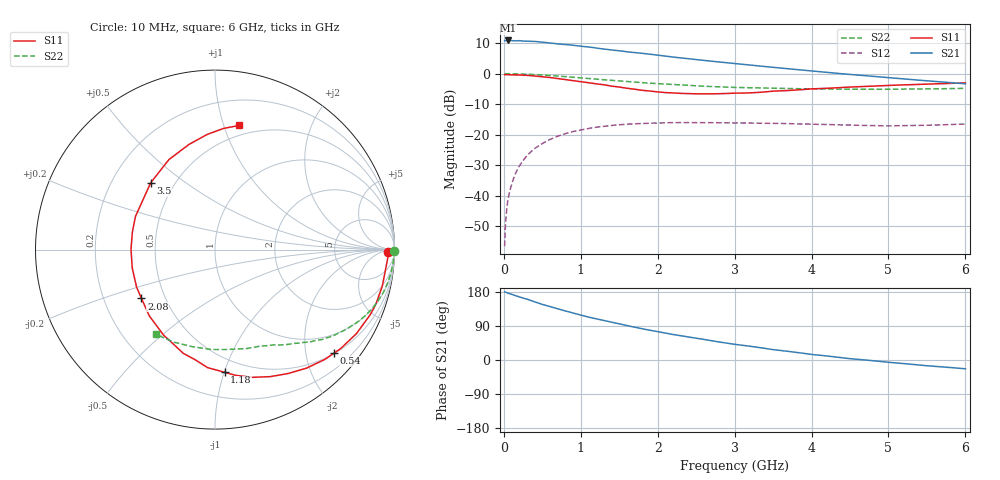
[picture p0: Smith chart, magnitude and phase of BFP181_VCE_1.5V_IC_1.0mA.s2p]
! Infineon Technologies  Discrete & RF Semiconductors
! BFP181
! VCE = 1.5 V,  IC =  1.0 mA
! Common Emitter S-Parameters:  Jan 2016
# GHz  S  MA  R  50
!  f  S11  S21  S12  S22
! GHz  MAG  ANG  MAG  ANG  MAG  ANG  MAG  ANG
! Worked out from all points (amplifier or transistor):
!   210 points, 10 MHz to 6 GHz, reference 50 ohm
!   highest |S21| = 10.9 dB at 50 MHz (marker M1)
!   |S21| within 3 dB of that: start of sweep to 1.358 GHz
!   unconditionally stable (mu >= 1): 2.974 GHz to end of sweep
!   at 185 MHz: K = 0.07, MSG = 20.9 dB, |S12| = -31.0 dB
!   at 1.52 GHz: K = 0.55, MSG = 12.1 dB, |S12| = -16.7 dB
!   at 6 GHz: K = 1.32, MAG = 3.2 dB, |S12| = -16.5 dB
!   S11 on the Smith chart (normalised r, x): 10 MHz: 44, -18; 540 MHz: 0.51, -2.59; 1.18 GHz: 0.39, -1.00; 2.08 GHz: 0.37, -0.26; 3.5 GHz: 0.37, +0.38; 6 GHz: 0.41, +1.13
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0.01  0.9618 -0.9  3.472 179.7  0.0015 89.7  0.9978 -0.3
0.02  0.9665 -1.7  3.454 179.3  0.0032 90.5  0.9965 -0.7
0.025  0.9657 -2.0  3.46 178.9  0.004 90.3  0.9965 -0.9
0.05  0.962 -3.6  3.493 176.7  0.0081 89.8  0.9969 -1.8
0.12  0.9546 -9.5  3.451 172.0  0.0183 83.1  0.9943 -4.4
0.2  0.9496 -15.5  3.466 166.6  0.0305 80.0  0.99 -7.3
0.4  0.9166 -30.7  3.37 153.3  0.0594 70.0  0.9677 -14.3
0.54  0.8794 -40.9  3.237 144.5  0.0765 62.8  0.9442 -18.9
0.8  0.802 -59.4  3.004 129.4  0.1043 52.1  0.8951 -26.4
1.02  0.7343 -75.1  2.795 117.5  0.1212 43.6  0.8477 -32.1
1.18  0.6861 -85.5  2.647 109.6  0.1316 37.9  0.8173 -35.8
1.6  0.5762 -113.3  2.276 90.9  0.1491 26.7  0.7451 -43.4
1.8  0.5332 -128.0  2.149 82.3  0.1529 22.5  0.7114 -46.7
2.02  0.4992 -142.6  1.99 74.0  0.1561 17.8  0.6835 -49.9
2.08  0.4919 -146.4  1.946 71.9  0.1567 16.7  0.6768 -50.9
2.42  0.4708 -168.8  1.747 60.0  0.1582 11.1  0.6406 -56.1
2.8  0.4705 168.0  1.555 47.5  0.1573 6.2  0.6098 -61.5
3.1  0.4806 152.5  1.423 38.9  0.1557 2.9  0.5909 -66.0
3.5  0.5167 133.9  1.272 27.4  0.1541 -0.1  0.5787 -72.3
4.1  0.5689 114.3  1.078 12.7  0.1477 -3.0  0.5599 -83.8
5.1  0.6487 92.3  0.838 -7.7  0.1402 -3.1  0.5555 -105.1
6  0.7051 78.9  0.682 -23.2  0.1495 -0.5  0.5755 -124.9
